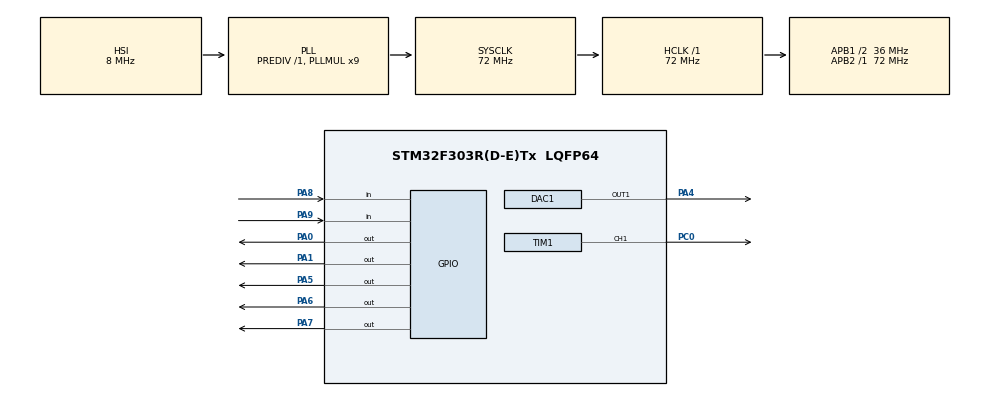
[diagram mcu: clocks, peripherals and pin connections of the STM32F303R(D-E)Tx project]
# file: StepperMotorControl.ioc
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Mcu.Family=STM32F3
Mcu.Name=STM32F303R(D-E)Tx
Mcu.Package=LQFP64
NVIC.PriorityGroup=NVIC_PRIORITYGROUP_4
NVIC.TIM1_CC_IRQn=true\:0\:0\:false\:false\:true\:true\:true\:true
NVIC.TIM6_DAC_IRQn=true\:0\:0\:false\:false\:true\:true\:true\:true
PA0.Signal=GPIO_Output
PA1.Signal=GPIO_Output
PA13.Mode=Serial_Wire
PA13.Signal=SYS_JTMS-SWDIO
PA14.Mode=Serial_Wire
PA14.Signal=SYS_JTCK-SWCLK
PA4.Signal=COMP_DAC11_group
PA5.Signal=GPIO_Output
PA6.Signal=GPIO_Output
PA7.Signal=GPIO_Output
PA8.Signal=GPIO_Input
PA9.Signal=GPIO_Input
PC0.Signal=S_TIM1_CH1
PC14-OSC32_IN.Mode=LSE-External-Oscillator
PC14-OSC32_IN.Signal=RCC_OSC32_IN
PC15-OSC32_OUT.Mode=LSE-External-Oscillator
PC15-OSC32_OUT.Signal=RCC_OSC32_OUT
PF0-OSC_IN.Mode=HSE-External-Oscillator
PF0-OSC_IN.Signal=RCC_OSC_IN
PF1-OSC_OUT.Mode=HSE-External-Oscillator
PF1-OSC_OUT.Signal=RCC_OSC_OUT
ProjectManager.HeapSize=0x200
ProjectManager.StackSize=0x400
ProjectManager.TargetToolchain=STM32CubeIDE
RCC.AHBFreq_Value=72000000
RCC.APB1CLKDivider=RCC_HCLK_DIV2
RCC.APB1Freq_Value=36000000
RCC.APB1TimFreq_Value=72000000
RCC.APB2Freq_Value=72000000
RCC.APB2TimFreq_Value=72000000
RCC.CortexFreq_Value=72000000
RCC.HCLKFreq_Value=72000000
RCC.HSE_VALUE=8000000
RCC.HSI_VALUE=8000000
RCC.PLLMUL=RCC_PLL_MUL9
RCC.SYSCLKFreq_VALUE=72000000
RCC.SYSCLKSourceVirtual=RCC_SYSCLKSOURCE_PLLCLK
RCC.USBFreq_Value=72000000
SH.COMP_DAC11_group.0=DAC1_OUT1,DAC_OUT1
SH.S_TIM1_CH1.0=TIM1_CH1,Output Compare1 CH1
TIM1.Channel-Output\ Compare1\ CH1=TIM_CHANNEL_1
TIM1.Period=99
TIM1.Prescaler=71
VP_TIM1_VS_ClockSourceINT.Mode=Internal
board=custom

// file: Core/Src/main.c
/* USER CODE BEGIN Header */
/**
  ******************************************************************************
  * @file           : main.c
  * @brief          : Main program body
  ******************************************************************************
  * @attention
  *
  * Copyright (c) 2026 STMicroelectronics.
  * All rights reserved.
  *
  * This software is licensed under terms that can be found in the LICENSE file
  * in the root directory of this software component.
  * If no LICENSE file comes with this software, it is provided AS-IS.
  *
  ******************************************************************************
  */
/* USER CODE END Header */
#include "main.h"
#include <stdlib.h>
#include <stdbool.h>

/* USER CODE BEGIN PD */
#define OCT_BASE_TICKS_PER_STEP 5U
#define OCT_BASE_STEPS_PER_D 800U
#define SOLENOID_DELAY 10000U

#define OCT_LEN 9U   /* 8 vertices + closing point (same as the first) */

#define HOME_MAX_STEPS 20000U   /* safety limit so homing can't hang forever */

/* Pins */
#define X_PUL_PIN GPIO_PIN_0
#define Y_PUL_PIN GPIO_PIN_1
#define X_DIR_PIN GPIO_PIN_5
#define Y_DIR_PIN GPIO_PIN_6
#define X_OPTICAL_PIN GPIO_PIN_8
#define Y_OPTICAL_PIN GPIO_PIN_9
#define SOLENOID_PIN GPIO_PIN_7

/* USER CODE END PD */

DAC_HandleTypeDef hdac1;

TIM_HandleTypeDef htim1;

/* USER CODE BEGIN PV */
volatile bool x_init_phase1, x_init_phase2;
volatile bool y_init_phase1, y_init_phase2;

volatile int32_t x_pos = 0;
volatile int32_t y_pos = 0;

static const int32_t oct_x[OCT_LEN] = {1, 3, 4, 4, 3, 1, 0, 0, 1}; // Note: The last index is the same as the first
static const int32_t oct_y[OCT_LEN] = {0, 0, 3, 5, 8, 8, 5, 3, 0};

volatile int32_t oct_current_stage = 0;
volatile int32_t oct_x_ticks_per_step = 0;
volatile int32_t oct_y_ticks_per_step = 0;

/* Per-segment progress. Step counts are exact; tick intervals may be rounded. */
volatile uint32_t oct_x_steps_left = 0;
volatile uint32_t oct_y_steps_left = 0;
volatile int32_t  oct_x_tick_count = 0;
volatile int32_t  oct_y_tick_count = 0;

volatile int32_t solenoid_tick_count = 0;

/* USER CODE END PV */

void SystemClock_Config(void);
static void MX_GPIO_Init(void);
static void MX_DAC1_Init(void);
static void MX_TIM1_Init(void);
/* USER CODE BEGIN PFP */
static void initialize_x_motor();
static void initialize_y_motor();
static void set_ticks_per_xy_step(int32_t dx, int32_t dy);
static void oct_start_segment(int32_t stage);

/* USER CODE END PFP */

int main(void)
{

  /* MCU Configuration--------------------------------------------------------*/

  /* Reset of all peripherals, Initializes the Flash interface and the Systick. */
  HAL_Init();

  /* Configure the system clock */
  SystemClock_Config();

  /* Initialize all configured peripherals */
  MX_GPIO_Init();
  MX_DAC1_Init();
  MX_TIM1_Init();
  /* USER CODE BEGIN 2 */
  HAL_DAC_Start(&hdac1, DAC_CHANNEL_1);

  /* Raise the solenoid pin and don't let the motors move on startup */
  HAL_GPIO_WritePin(GPIOA, X_PUL_PIN, GPIO_PIN_RESET);
  HAL_GPIO_WritePin(GPIOA, Y_PUL_PIN, GPIO_PIN_RESET);
  HAL_GPIO_WritePin(GPIOA, SOLENOID_PIN, GPIO_PIN_RESET);

  /* Move the motors to their respective starting position */
  initialize_x_motor();
  initialize_y_motor();

  /* Load the first segment (sets DIR pins) before the timer starts ticking.
     Assumes the pen starts at (oct_x[0], oct_y[0]). */
  oct_current_stage = 0;
  oct_start_segment(oct_current_stage);

  solenoid_tick_count = 0;

  HAL_TIM_PWM_Start_IT(&htim1, TIM_CHANNEL_1);
  /* USER CODE END 2 */

  /* Infinite loop */
  while (1)
  {

  }
}

void SystemClock_Config(void)
{
  RCC_OscInitTypeDef RCC_OscInitStruct = {0};
  RCC_ClkInitTypeDef RCC_ClkInitStruct = {0};
  RCC_PeriphCLKInitTypeDef PeriphClkInit = {0};

  /** Initializes the RCC Oscillators according to the specified parameters
  * in the RCC_OscInitTypeDef structure.
  */
  RCC_OscInitStruct.OscillatorType = RCC_OSCILLATORTYPE_HSI;
  RCC_OscInitStruct.HSIState = RCC_HSI_ON;
  RCC_OscInitStruct.HSICalibrationValue = RCC_HSICALIBRATION_DEFAULT;
  RCC_OscInitStruct.PLL.PLLState = RCC_PLL_ON;
  RCC_OscInitStruct.PLL.PLLSource = RCC_PLLSOURCE_HSI;
  RCC_OscInitStruct.PLL.PLLMUL = RCC_PLL_MUL9;
  RCC_OscInitStruct.PLL.PREDIV = RCC_PREDIV_DIV1;
  if (HAL_RCC_OscConfig(&RCC_OscInitStruct) != HAL_OK)
  {
    Error_Handler();
  }

  /** Initializes the CPU, AHB and APB buses clocks
  */
  RCC_ClkInitStruct.ClockType = RCC_CLOCKTYPE_HCLK|RCC_CLOCKTYPE_SYSCLK
                              |RCC_CLOCKTYPE_PCLK1|RCC_CLOCKTYPE_PCLK2;
  RCC_ClkInitStruct.SYSCLKSource = RCC_SYSCLKSOURCE_PLLCLK;
  RCC_ClkInitStruct.AHBCLKDivider = RCC_SYSCLK_DIV1;
  RCC_ClkInitStruct.APB1CLKDivider = RCC_HCLK_DIV2;
  RCC_ClkInitStruct.APB2CLKDivider = RCC_HCLK_DIV1;

  if (HAL_RCC_ClockConfig(&RCC_ClkInitStruct, FLASH_LATENCY_2) != HAL_OK)
  {
    Error_Handler();
  }
  PeriphClkInit.PeriphClockSelection = RCC_PERIPHCLK_TIM1;
  PeriphClkInit.Tim1ClockSelection = RCC_TIM1CLK_HCLK;
  if (HAL_RCCEx_PeriphCLKConfig(&PeriphClkInit) != HAL_OK)
  {
    Error_Handler();
  }
}

static void MX_DAC1_Init(void)
{

  DAC_ChannelConfTypeDef sConfig = {0};

  /** DAC Initialization
  */
  hdac1.Instance = DAC1;
  if (HAL_DAC_Init(&hdac1) != HAL_OK)
  {
    Error_Handler();
  }

  /** DAC channel OUT1 config
  */
  sConfig.DAC_Trigger = DAC_TRIGGER_NONE;
  sConfig.DAC_OutputBuffer = DAC_OUTPUTBUFFER_ENABLE;
  if (HAL_DAC_ConfigChannel(&hdac1, &sConfig, DAC_CHANNEL_1) != HAL_OK)
  {
    Error_Handler();
  }

}

static void MX_TIM1_Init(void)
{

  TIM_ClockConfigTypeDef sClockSourceConfig = {0};
  TIM_MasterConfigTypeDef sMasterConfig = {0};
  TIM_OC_InitTypeDef sConfigOC = {0};
  TIM_BreakDeadTimeConfigTypeDef sBreakDeadTimeConfig = {0};

  htim1.Instance = TIM1;
  htim1.Init.Prescaler = 71;
  htim1.Init.CounterMode = TIM_COUNTERMODE_UP;
  htim1.Init.Period = 99;
  htim1.Init.ClockDivision = TIM_CLOCKDIVISION_DIV1;
  htim1.Init.RepetitionCounter = 0;
  htim1.Init.AutoReloadPreload = TIM_AUTORELOAD_PRELOAD_DISABLE;
  if (HAL_TIM_Base_Init(&htim1) != HAL_OK)
  {
    Error_Handler();
  }
  sClockSourceConfig.ClockSource = TIM_CLOCKSOURCE_INTERNAL;
  if (HAL_TIM_ConfigClockSource(&htim1, &sClockSourceConfig) != HAL_OK)
  {
    Error_Handler();
  }
  if (HAL_TIM_OC_Init(&htim1) != HAL_OK)
  {
    Error_Handler();
  }
  sMasterConfig.MasterOutputTrigger = TIM_TRGO_RESET;
  sMasterConfig.MasterOutputTrigger2 = TIM_TRGO2_RESET;
  sMasterConfig.MasterSlaveMode = TIM_MASTERSLAVEMODE_DISABLE;
  if (HAL_TIMEx_MasterConfigSynchronization(&htim1, &sMasterConfig) != HAL_OK)
  {
    Error_Handler();
  }
  sConfigOC.OCMode = TIM_OCMODE_TIMING;
  sConfigOC.Pulse = 0;
  sConfigOC.OCPolarity = TIM_OCPOLARITY_HIGH;
  sConfigOC.OCNPolarity = TIM_OCNPOLARITY_HIGH;
  sConfigOC.OCFastMode = TIM_OCFAST_DISABLE;
  sConfigOC.OCIdleState = TIM_OCIDLESTATE_RESET;
  sConfigOC.OCNIdleState = TIM_OCNIDLESTATE_RESET;
  if (HAL_TIM_OC_ConfigChannel(&htim1, &sConfigOC, TIM_CHANNEL_1) != HAL_OK)
  {
    Error_Handler();
  }
  sBreakDeadTimeConfig.OffStateRunMode = TIM_OSSR_DISABLE;
  sBreakDeadTimeConfig.OffStateIDLEMode = TIM_OSSI_DISABLE;
  sBreakDeadTimeConfig.LockLevel = TIM_LOCKLEVEL_OFF;
  sBreakDeadTimeConfig.DeadTime = 0;
  sBreakDeadTimeConfig.BreakState = TIM_BREAK_DISABLE;
  sBreakDeadTimeConfig.BreakPolarity = TIM_BREAKPOLARITY_HIGH;
  sBreakDeadTimeConfig.BreakFilter = 0;
  sBreakDeadTimeConfig.Break2State = TIM_BREAK2_DISABLE;
  sBreakDeadTimeConfig.Break2Polarity = TIM_BREAK2POLARITY_HIGH;
  sBreakDeadTimeConfig.Break2Filter = 0;
  sBreakDeadTimeConfig.AutomaticOutput = TIM_AUTOMATICOUTPUT_DISABLE;
  if (HAL_TIMEx_ConfigBreakDeadTime(&htim1, &sBreakDeadTimeConfig) != HAL_OK)
  {
    Error_Handler();
  }
  HAL_TIM_MspPostInit(&htim1);

}

static void MX_GPIO_Init(void)
{
  GPIO_InitTypeDef GPIO_InitStruct = {0};

  /* GPIO Ports Clock Enable */
  __HAL_RCC_GPIOC_CLK_ENABLE();
  __HAL_RCC_GPIOF_CLK_ENABLE();
  __HAL_RCC_GPIOA_CLK_ENABLE();

  /*Configure GPIO pin Output Level */
  HAL_GPIO_WritePin(GPIOA, GPIO_PIN_0|GPIO_PIN_1|GPIO_PIN_5|GPIO_PIN_6
                          |GPIO_PIN_7, GPIO_PIN_RESET);

  /*Configure GPIO pins : PA0 PA1 PA5 PA6
                           PA7 */
  GPIO_InitStruct.Pin = GPIO_PIN_0|GPIO_PIN_1|GPIO_PIN_5|GPIO_PIN_6
                          |GPIO_PIN_7;
  GPIO_InitStruct.Mode = GPIO_MODE_OUTPUT_PP;
  GPIO_InitStruct.Pull = GPIO_NOPULL;
  GPIO_InitStruct.Speed = GPIO_SPEED_FREQ_LOW;
  HAL_GPIO_Init(GPIOA, &GPIO_InitStruct);

  /*Configure GPIO pins : PA8 PA9 */
  GPIO_InitStruct.Pin = GPIO_PIN_8|GPIO_PIN_9;
  GPIO_InitStruct.Mode = GPIO_MODE_INPUT;
  GPIO_InitStruct.Pull = GPIO_NOPULL;
  HAL_GPIO_Init(GPIOA, &GPIO_InitStruct);

}

/* USER CODE BEGIN 4 */
static void motor_init_step_once(uint16_t PUL_pin)
{
    HAL_GPIO_WritePin(GPIOA, PUL_pin, GPIO_PIN_SET);    /* rising edge = 1 step */
    HAL_Delay(1);
    HAL_GPIO_WritePin(GPIOA, PUL_pin, GPIO_PIN_RESET);
    HAL_Delay(1);
}

static void initialize_x_motor(void)
{
    /* Phase 1: move away from the sensor (+X, DIR LOW) */
    HAL_GPIO_WritePin(GPIOA, X_DIR_PIN, GPIO_PIN_RESET);
    HAL_Delay(1);                                         /* DIR setup time */
    for (uint32_t i = 0; i < OCT_BASE_STEPS_PER_D; i++)
        motor_init_step_once(X_PUL_PIN);

    /* Phase 2: move toward the sensor (-X, DIR HIGH) until it trips */
    HAL_GPIO_WritePin(GPIOA, X_DIR_PIN, GPIO_PIN_SET);
    HAL_Delay(1);
    uint32_t steps = 0;
    while (HAL_GPIO_ReadPin(GPIOA, X_OPTICAL_PIN) != GPIO_PIN_SET)
    {
        motor_init_step_once(X_PUL_PIN);
        if (++steps > HOME_MAX_STEPS)
            Error_Handler();                              /* sensor never tripped */
    }

    HAL_GPIO_WritePin(GPIOA, X_DIR_PIN, GPIO_PIN_RESET);
    	HAL_Delay(1);                                         /* DIR setup time */
    	for (uint32_t i = 0; i < 4000; i++)
    		motor_init_step_once(X_PUL_PIN);

    x_pos = 0;
}

static void initialize_y_motor(void)
{
	/* Phase 1: move away from the sensor (+Y, DIR LOW) */
	HAL_GPIO_WritePin(GPIOA, Y_DIR_PIN, GPIO_PIN_RESET);
	HAL_Delay(1);                                         /* DIR setup time */
	for (uint32_t i = 0; i < OCT_BASE_STEPS_PER_D; i++)
		motor_init_step_once(Y_PUL_PIN);

	/* Phase 2: move toward the sensor (-Y, DIR HIGH) until it trips */
	HAL_GPIO_WritePin(GPIOA, Y_DIR_PIN, GPIO_PIN_SET);
	HAL_Delay(1);
	uint32_t steps = 0;
	while (HAL_GPIO_ReadPin(GPIOA, Y_OPTICAL_PIN) != GPIO_PIN_SET)
	{
		motor_init_step_once(Y_PUL_PIN);
		if (++steps > HOME_MAX_STEPS)
			Error_Handler();                              /* sensor never tripped */
	}

	HAL_GPIO_WritePin(GPIOA, Y_DIR_PIN, GPIO_PIN_RESET);
	HAL_Delay(1);                                         /* DIR setup time */
	for (uint32_t i = 0; i < 5000; i++)
		motor_init_step_once(Y_PUL_PIN);

	y_pos = 20;
}

static void set_ticks_per_xy_step(int32_t dx, int32_t dy)
{
  const int32_t base = (int32_t)OCT_BASE_TICKS_PER_STEP;
  int32_t adx = abs(dx);
  int32_t ady = abs(dy);

  if (adx == 0 && ady == 0)            /* no movement */
  {
    oct_x_ticks_per_step = 0;
    oct_y_ticks_per_step = 0;
    return;
  }

  if (adx >= ady)                      /* X is the major axis */
  {
    oct_x_ticks_per_step = base;
    oct_y_ticks_per_step = (ady == 0) ? 0 : (base * adx + ady / 2) / ady;  /* rounded */
  }
  else                                 /* Y is the major axis */
  {
    oct_y_ticks_per_step = base;
    oct_x_ticks_per_step = (adx == 0) ? 0 : (base * ady + adx / 2) / adx;  /* rounded */
  }
}

/**
  * Load segment `stage` -> `stage + 1`: set DIR pins, exact step counts,
  * and (possibly rounded) tick intervals. Call only while PUL pins are low.
  * Flip the SET/RESET choice for an axis if it moves the wrong way.
  */
static void oct_start_segment(int32_t stage)
{
  int32_t dx = oct_x[stage + 1] - oct_x[stage];
  int32_t dy = oct_y[stage + 1] - oct_y[stage];

  HAL_GPIO_WritePin(GPIOA, X_DIR_PIN, (dx >= 0) ? GPIO_PIN_RESET : GPIO_PIN_SET);
  HAL_GPIO_WritePin(GPIOA, Y_DIR_PIN, (dy >= 0) ? GPIO_PIN_RESET : GPIO_PIN_SET);

  oct_x_steps_left = (uint32_t)abs(dx) * OCT_BASE_STEPS_PER_D;
  oct_y_steps_left = (uint32_t)abs(dy) * OCT_BASE_STEPS_PER_D;

  set_ticks_per_xy_step(dx, dy);

  oct_x_tick_count = 0;
  oct_y_tick_count = 0;
}

/**
  * Called on TIM1 CH1 compare match, i.e. the falling edge of each STEP pulse.
  * Toggling DIR here (not at the rising edge) gives the driver plenty of
  * DIR setup time before the next step.
  */
void HAL_TIM_OC_DelayElapsedCallback(TIM_HandleTypeDef *htim)
{
  if (htim->Instance == TIM1 && htim->Channel == HAL_TIM_ACTIVE_CHANNEL_1)
  {
	  /* Main interrupt: fires every tick (100 microseconds) and drives BOTH axes. */

	  /* 1. End any PUL pulse started on the previous tick (pulse width = 1 tick). */
	  HAL_GPIO_WritePin(GPIOA, X_PUL_PIN | Y_PUL_PIN, GPIO_PIN_RESET);

	  /* 2. Segment finished? Both axes must have taken their exact step count.
	        Done here, with PUL low, so DIR changes a full tick before the next
	        rising edge. */
	  if (oct_x_steps_left == 0 && oct_y_steps_left == 0)
	  {
		  if (oct_current_stage + 1 >= (int32_t)(OCT_LEN - 1))
		  {
			  /* Back at the start. Introduce a 1s delay (10000 ticks) for the solenoid pen to rise/drop.
			   * The pen will draw every other cycle while it's dropped. */
			  if (solenoid_tick_count < SOLENOID_DELAY)
			  {
				  // During delay
				  if (solenoid_tick_count == 0)
					  HAL_GPIO_TogglePin(GPIOA, SOLENOID_PIN);
				  solenoid_tick_count++;
				  return;
			  }
			  else
			  {
				  // End of delay
				  oct_current_stage = 0;
				  solenoid_tick_count = 0;
			  }

		  }
		  else
		  {
			  oct_current_stage++;
		  }
		  oct_start_segment(oct_current_stage);

		  return;
	  }

	  /* 3. X axis: step when its interval elapses, until its steps run out. */
	  if (oct_x_steps_left > 0 && ++oct_x_tick_count >= oct_x_ticks_per_step)
	  {
		  oct_x_tick_count = 0;
		  HAL_GPIO_WritePin(GPIOA, X_PUL_PIN, GPIO_PIN_SET);   /* rising edge */
		  oct_x_steps_left--;
	  }

	  /* 4. Y axis: same, with its own interval and count. */
	  if (oct_y_steps_left > 0 && ++oct_y_tick_count >= oct_y_ticks_per_step)
	  {
		  oct_y_tick_count = 0;
		  HAL_GPIO_WritePin(GPIOA, Y_PUL_PIN, GPIO_PIN_SET);
		  oct_y_steps_left--;
	  }

	  return;
  }
}

/* USER CODE END 4 */

void Error_Handler(void)
{
  __disable_irq();
  while (1)
  {
  }
}
